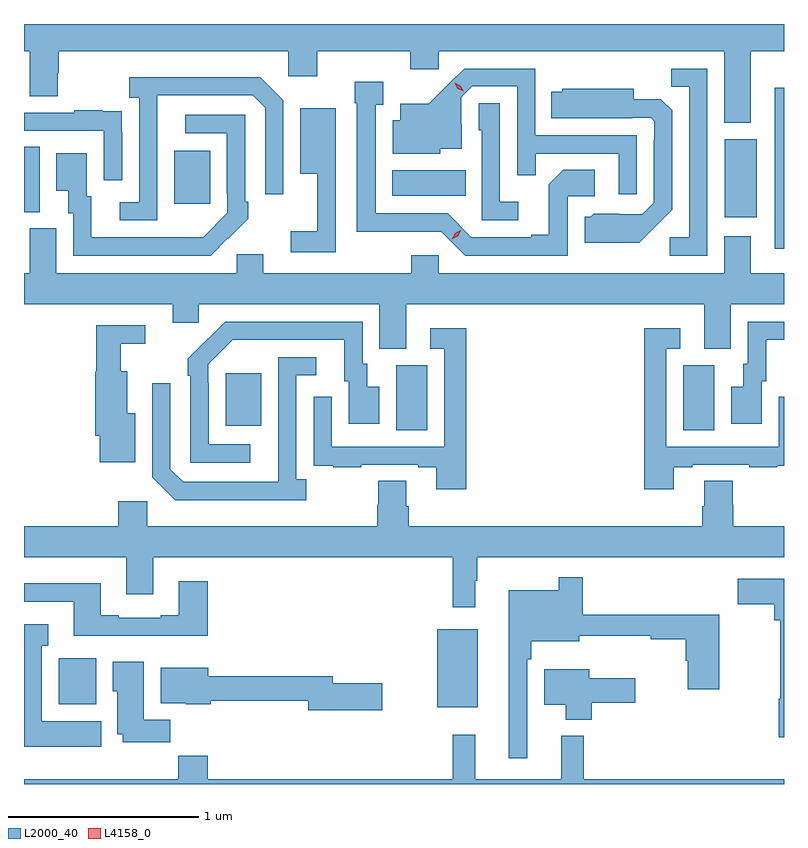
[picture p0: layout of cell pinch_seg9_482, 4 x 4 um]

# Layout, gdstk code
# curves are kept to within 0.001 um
import gdstk
lib = gdstk.Library(unit=1e-6, precision=1e-09)
def R(c, l, rs):  # rectangles x0, y0, x1, y1
    for r in rs: c.add(gdstk.rectangle(r[:2], r[2:], *l))
def P(c, l, *ps):  # polygons
    for p in ps: c.add(gdstk.Polygon(p, *l))
L2000_40 = (2000, 40)
L4158_0 = (4158, 0)

pinch_seg9_482 = lib.new_cell('pinch_seg9_482')
R(pinch_seg9_482, L2000_40, [(288.122,1200.959,288.337,1201.369), (286.13,1200.974,286.327,1201.216), (287.906,1202.416,288.07,1202.76), (289.418,1202.416,289.582,1202.76), (287.009,1202.441,287.197,1202.716), (289.899,1203.372,289.948,1204.219), (289.637,1203.537,289.804,1203.949), (285.948,1203.565,286.03,1203.908), (286.739,1203.609,286.927,1203.889), (287.885,1203.65,288.272,1203.784)])
P(pinch_seg9_482, L2000_40, [(289.774,1204.412),(289.948,1204.412),(289.948,1204.555),(285.948,1204.555),(285.948,1204.412),(285.977,1204.412),(285.977,1204.174),(286.125,1204.174),(286.125,1204.299),(286.13,1204.299),(286.13,1204.412),(287.34,1204.412),(287.34,1204.281),(287.492,1204.281),(287.492,1204.412),(287.981,1204.412),(287.981,1204.317),(288.132,1204.317),(288.132,1204.412),(289.634,1204.412),(289.634,1204.034),(289.774,1204.034)],
  [(289.545,1204.32),(289.354,1204.32),(289.354,1204.225),(289.449,1204.225),(289.449,1203.432),(289.347,1203.432),(289.347,1203.336),(289.545,1203.336)],
  [(289.173,1203.969),(288.639,1203.969),(288.639,1204.32),(288.266,1204.32),(288.079,1204.135),(287.927,1204.135),(287.927,1204.048),(287.888,1204.048),(287.888,1203.872),(288.138,1203.872),(288.138,1203.899),(288.253,1203.899),(288.253,1204.028),(288.249,1204.028),(288.249,1204.17),(288.306,1204.227),(288.543,1204.227),(288.543,1203.76),(288.641,1203.76),(288.641,1203.873),(289.077,1203.873),(289.077,1203.66),(289.173,1203.66)],
  [(286.65,1204.179),(287.151,1204.179),(287.217,1204.113),(287.217,1203.66),(287.313,1203.66),(287.313,1204.155),(287.192,1204.276),(286.503,1204.276),(286.503,1204.166),(286.554,1204.166),(286.554,1203.618),(286.452,1203.618),(286.452,1203.522),(286.65,1203.522)],
  [(288.81,1203.648),(288.952,1203.648),(288.952,1203.788),(288.787,1203.788),(288.711,1203.712),(288.711,1203.445),(288.617,1203.445),(288.617,1203.432),(288.303,1203.432),(288.177,1203.558),(287.8,1203.558),(287.8,1204.131),(287.839,1204.131),(287.839,1204.252),(287.689,1204.252),(287.689,1204.139),(287.699,1204.139),(287.699,1203.461),(288.144,1203.462),(288.27,1203.336),(288.81,1203.336)],
  [(289.267,1203.485),(289.359,1203.578),(289.359,1204.1),(289.3,1204.159),(289.156,1204.159),(289.156,1204.213),(288.78,1204.213),(288.78,1204.198),(288.724,1204.198),(288.724,1204.058),(289.148,1204.058),(289.148,1204.062),(289.248,1204.062),(289.266,1204.044),(289.266,1203.944),(289.263,1203.944),(289.263,1203.615),(289.203,1203.555),(288.946,1203.556),(288.93,1203.54),(288.899,1203.54),(288.899,1203.404),(289.187,1203.404)],
  [(288.55,1203.619),(288.453,1203.619),(288.453,1204.139),(288.342,1204.139),(288.342,1203.996),(288.357,1203.996),(288.357,1203.522),(288.55,1203.522)],
  [(287.589,1203.871),(287.59,1203.871),(287.59,1204.111),(287.402,1204.111),(287.402,1203.767),(287.492,1203.767),(287.492,1203.463),(287.352,1203.463),(287.352,1203.354),(287.589,1203.354)],
  [(286.464,1203.986),(286.463,1203.986),(286.463,1204.095),(286.361,1204.095),(286.361,1204.102),(286.213,1204.102),(286.213,1204.089),(285.948,1204.089),(285.948,1203.993),(286.368,1203.993),(286.368,1203.732),(286.464,1203.732)],
  [(287.021,1203.427),(287.022,1203.426),(287.127,1203.531),(287.127,1203.619),(287.112,1203.619),(287.112,1204.077),(286.797,1204.077),(286.797,1203.981),(287.016,1203.981),(287.016,1203.661),(287.019,1203.661),(287.019,1203.561),(286.891,1203.433),(286.303,1203.432),(286.303,1203.648),(286.279,1203.648),(286.279,1203.874),(286.118,1203.874),(286.118,1203.677),(286.181,1203.677),(286.181,1203.558),(286.206,1203.558),(286.206,1203.336),(286.93,1203.336)],
  [(287.959,1203.08),(289.529,1203.08),(289.529,1202.845),(289.669,1202.845),(289.669,1203.08),(289.948,1203.08),(289.948,1203.244),(289.774,1203.244),(289.774,1203.439),(289.634,1203.439),(289.634,1203.244),(288.132,1203.244),(288.132,1203.337),(287.986,1203.337),(287.986,1203.244),(287.206,1203.244),(287.206,1203.342),(287.067,1203.342),(287.067,1203.244),(286.117,1203.244),(286.117,1203.48),(285.977,1203.48),(285.977,1203.244),(285.948,1203.244),(285.948,1203.08),(286.73,1203.08),(286.73,1202.982),(286.869,1202.982),(286.869,1203.08),(287.819,1203.08),(287.819,1202.845),(287.959,1202.845)],
  [(287.14,1202.343),(286.92,1202.343),(286.92,1202.663),(286.917,1202.663),(286.917,1202.763),(287.046,1202.892),(287.633,1202.892),(287.633,1202.676),(287.657,1202.676),(287.657,1202.451),(287.818,1202.451),(287.818,1202.647),(287.755,1202.647),(287.755,1202.766),(287.73,1202.766),(287.73,1202.988),(287.006,1202.988),(286.809,1202.793),(286.809,1202.705),(286.824,1202.705),(286.824,1202.247),(287.14,1202.247)],
  [(289.831,1202.676),(289.855,1202.676),(289.855,1202.892),(289.948,1202.892),(289.948,1202.988),(289.758,1202.988),(289.758,1202.766),(289.733,1202.766),(289.733,1202.647),(289.67,1202.647),(289.67,1202.451),(289.831,1202.451)],
  [(286.534,1202.506),(286.492,1202.506),(286.492,1202.728),(286.456,1202.728),(286.456,1202.873),(286.585,1202.873),(286.585,1202.97),(286.327,1202.97),(286.327,1202.724),(286.322,1202.724),(286.322,1202.388),(286.346,1202.388),(286.346,1202.249),(286.534,1202.249)],
  [(288.275,1202.953),(288.087,1202.953),(288.087,1202.847),(288.159,1202.847),(288.159,1202.331),(287.568,1202.331),(287.568,1202.593),(287.472,1202.593),(287.472,1202.338),(287.473,1202.338),(287.473,1202.229),(287.575,1202.229),(287.575,1202.223),(287.723,1202.223),(287.723,1202.235),(288.023,1202.235),(288.023,1202.223),(288.119,1202.223),(288.119,1202.106),(288.275,1202.106)],
  [(289.369,1202.223),(289.465,1202.223),(289.465,1202.235),(289.765,1202.235),(289.765,1202.223),(289.913,1202.223),(289.913,1202.229),(289.948,1202.229),(289.948,1202.593),(289.92,1202.593),(289.92,1202.331),(289.329,1202.331),(289.329,1202.847),(289.402,1202.847),(289.402,1202.953),(289.213,1202.953),(289.213,1202.106),(289.369,1202.106)],
  [(287.434,1202.158),(287.382,1202.158),(287.382,1202.706),(287.485,1202.706),(287.485,1202.802),(287.286,1202.802),(287.285,1202.145),(286.785,1202.145),(286.719,1202.211),(286.719,1202.665),(286.623,1202.665),(286.623,1202.169),(286.744,1202.048),(287.434,1202.048)],
  [(288.322,1201.625),(288.334,1201.625),(288.334,1201.748),(289.948,1201.748),(289.948,1201.912),(289.682,1201.912),(289.682,1202.025),(289.677,1202.025),(289.677,1202.15),(289.529,1202.15),(289.529,1202.018),(289.517,1202.018),(289.517,1201.912),(287.972,1201.912),(287.972,1202.018),(287.959,1202.018),(287.959,1202.15),(287.812,1202.15),(287.812,1202.025),(287.807,1202.025),(287.807,1201.912),(286.596,1201.912),(286.596,1202.044),(286.445,1202.044),(286.445,1201.912),(285.948,1201.912),(285.948,1201.748),(286.487,1201.748),(286.487,1201.554),(286.627,1201.554),(286.627,1201.748),(288.205,1201.748),(288.205,1201.485),(288.322,1201.485)],
  [(288.597,1201.211),(288.617,1201.211),(288.617,1201.307),(288.871,1201.307),(288.871,1201.336),(289.246,1201.336),(289.246,1201.318),(289.43,1201.318),(289.43,1201.203),(289.442,1201.203),(289.442,1201.053),(289.608,1201.053),(289.608,1201.447),(288.89,1201.447),(288.89,1201.642),(288.762,1201.642),(288.762,1201.576),(288.5,1201.576),(288.5,1200.69),(288.597,1200.69)],
  [(289.948,1201.636),(289.704,1201.636),(289.704,1201.502),(289.897,1201.502),(289.897,1201.418),(289.929,1201.418),(289.929,1201.004),(289.921,1201.004),(289.921,1200.801),(289.948,1200.801)],
  [(286.916,1201.621),(286.763,1201.621),(286.763,1201.444),(286.667,1201.444),(286.667,1201.431),(286.447,1201.431),(286.447,1201.444),(286.351,1201.444),(286.351,1201.612),(285.948,1201.612),(285.948,1201.515),(286.211,1201.515),(286.211,1201.334),(286.916,1201.334)],
  [(286.354,1200.886),(286.042,1200.886),(286.042,1201.283),(286.075,1201.283),(286.075,1201.396),(285.948,1201.396),(285.948,1200.752),(286.354,1200.752)],
  [(286.718,1200.892),(286.579,1200.892),(286.579,1201.198),(286.415,1201.198),(286.415,1201.044),(286.439,1201.044),(286.439,1200.818),(286.469,1200.818),(286.469,1200.774),(286.718,1200.774)],
  [(287.833,1201.085),(287.572,1201.085),(287.572,1201.121),(286.918,1201.121),(286.918,1201.168),(286.667,1201.168),(286.667,1200.98),(286.8,1200.98),(286.8,1200.974),(286.931,1200.974),(286.931,1200.993),(287.444,1200.993),(287.444,1200.943),(287.833,1200.943)],
  [(288.935,1200.982),(289.165,1200.982),(289.165,1201.111),(288.922,1201.111),(288.922,1201.159),(288.686,1201.159),(288.686,1200.971),(288.8,1200.971),(288.8,1200.893),(288.935,1200.893)],
  [(289.948,1200.58),(288.893,1200.58),(288.893,1200.808),(288.776,1200.808),(288.776,1200.58),(288.323,1200.58),(288.323,1200.814),(288.205,1200.814),(288.205,1200.58),(286.916,1200.58),(286.916,1200.704),(286.759,1200.704),(286.759,1200.58),(285.948,1200.58),(285.948,1200.555),(289.948,1200.555)])
P(pinch_seg9_482, L4158_0, [(288.262,1204.2),(288.232,1204.215),(288.214,1204.244),(288.214,1204.245),(288.215,1204.245),(288.245,1204.23),(288.263,1204.2),(288.263,1204.2)],
  [(288.199,1203.421),(288.199,1203.421),(288.218,1203.454),(288.25,1203.472),(288.25,1203.472),(288.25,1203.472),(288.232,1203.439),(288.2,1203.421)])

lib.write_gds('pinch_seg9_482.gds')
